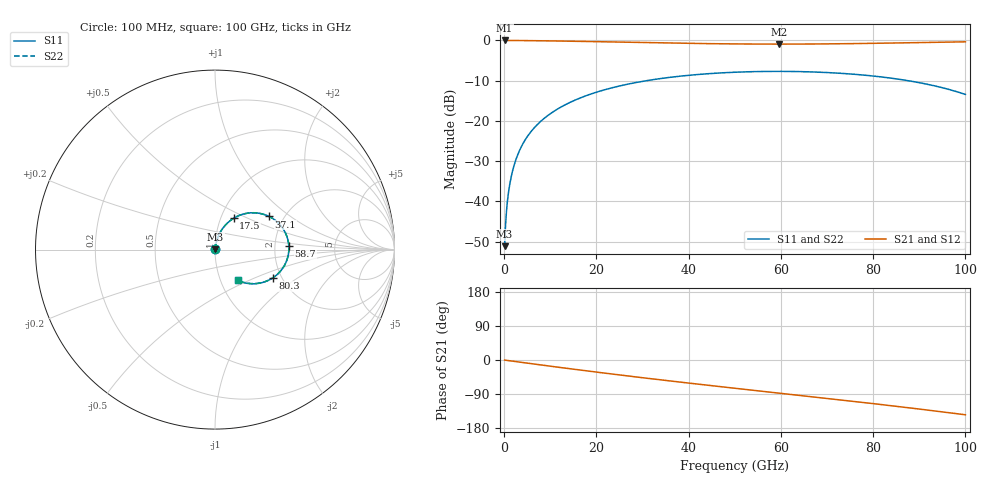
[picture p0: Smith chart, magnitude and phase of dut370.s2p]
! Touchstone file exported from HFSS 2026.1.0
!  File:  C:/ffzhzh/LocalFiles/Ansys_Project_Files/temp_train_RDL_370_1783503537_31944.aedt
!  Generated:  05:40:19 PM Jul  8, 2026
!  Design:  RDL
!  Project:  temp_train_RDL_370_1783503537_31944
! Variables:
!  h_bsmrdl = 2um
!  h_ox = 20um
!  h_rdl = 5um
!  h_sub = 80um
!  h_tmrdl = 3.29um
!  h_tsv = 80um
!  h_via = 3um
!  l_bsmrdl = 300um
!  l_sub = 891.06um
!  l_tmrdl = 491.06um
!  m_sub = 200um
!  pitch = 42.41um
!  r_tsv = 6um
!  s_tmrdl = 10um
!  w_bsmrdl = 18um
!  w_sub = 500um
!  w_tmrdl = 25.73um
!  x_tsv_center1 = 503.925um
!  x_tsv_center2 = 821.925um
!  x_tsv_center3 = 1338.715um
!  x_tsv_center4 = 1656.715um
!  x_tsv_center5 = 2173.505um
!  x_tsv_center6 = 2491.505um
# GHz S MA R 50.000000
! Terminal data exported
! Port[1] = TM_RDL1_1_T1
! Port[2] = TM_RDL1_1_T2
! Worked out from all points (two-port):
!   1000 points, 100 MHz to 100 GHz, reference 50 ohm
!   highest |S21| = -0.02 dB at 100 MHz (marker M1); lowest = -0.9 dB at 59.6 GHz (marker M2)
!   |S21| within 3 dB of the highest: start of sweep to end of sweep
!   lowest |S11| = -51.1 dB at 100 MHz (marker M3), VSWR 1.01, Z = 50.2 + j0.154 ohm
!   |S11| at or under -10 dB: start of sweep to 30.96 GHz; 87.48 GHz to end of sweep
!   |S22| runs from -51.1 to -7.7 dB; largest |S21 - S12| = 1.8e-14
!   S11 on the Smith chart (normalised r, x): 100 MHz: 1.00, +0.00; 17.5 GHz: 1.15, +0.42; 37.1 GHz: 1.68, +0.71; 58.7 GHz: 2.39, +0.11; 80.3 GHz: 1.80, -0.65; 100 GHz: 1.20, -0.43
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0.1  0.00277 33.5  0.9977 -0.2  0.9977 -0.2  0.00277 33.5
! Gamma 0 0 0 0
! Port Impedance 50 0 50 0
0.9  0.01233 74.0  0.9968 -1.5  0.9968 -1.5  0.01233 74.0
1.2  0.01604 76.5  0.9967 -2.0  0.9967 -2.0  0.01604 76.5
1.6  0.02103 78.2  0.9965 -2.7  0.9965 -2.7  0.02103 78.2
2.7  0.03485 79.5  0.9957 -4.5  0.9957 -4.5  0.03485 79.5
4.2  0.05357 78.5  0.9943 -7.0  0.9943 -7.0  0.05357 78.5
6.3  0.07923 75.8  0.9916 -10.4  0.9916 -10.4  0.07923 75.8
9.1  0.1122 71.8  0.9871 -14.9  0.9871 -14.9  0.1122 71.8
12.6  0.1515 66.6  0.9805 -20.4  0.9805 -20.4  0.1515 66.6
16.8  0.1956 60.4  0.9715 -27.0  0.9715 -27.0  0.1956 60.3
17.5  0.2026 59.3  0.9699 -28.1  0.9699 -28.1  0.2026 59.3
24.7  0.2686 48.9  0.9527 -39.0  0.9527 -39.0  0.2687 48.8
33.4  0.3322 36.6  0.9318 -51.6  0.9318 -51.6  0.3322 36.5
37.1  0.3536 31.5  0.9237 -56.9  0.9237 -56.9  0.3536 31.4
50.1  0.4021 14.0  0.9035 -74.7  0.9035 -74.7  0.4021 14.0
58.7  0.4119 2.8  0.8988 -86.2  0.8988 -86.2  0.412 2.7
59.6  0.412 1.6  0.8988 -87.4  0.8988 -87.4  0.412 1.6
66.7  0.4055 -7.7  0.9014 -96.9  0.9014 -96.9  0.4055 -7.7
80.3  0.3591 -25.9  0.9193 -115.5  0.9193 -115.5  0.3591 -25.9
83.4  0.3421 -30.2  0.9252 -119.9  0.9252 -119.9  0.3422 -30.1
92.2  0.2813 -42.6  0.9438 -132.7  0.9438 -132.7  0.2813 -42.3
100  0.2128 -53.8  0.9597 -144.6  0.9597 -144.6  0.213 -53.2
